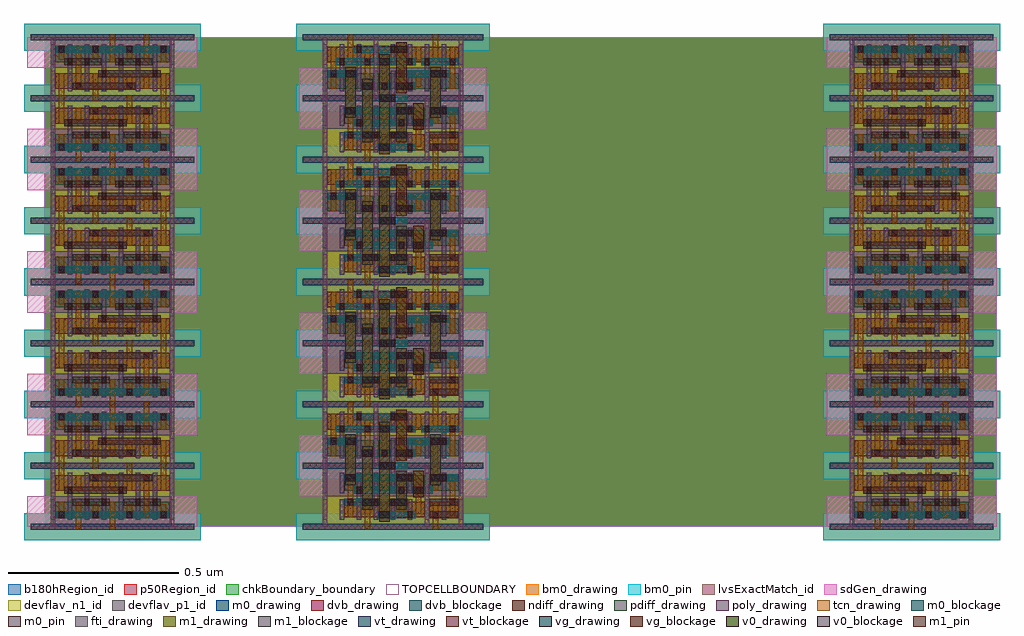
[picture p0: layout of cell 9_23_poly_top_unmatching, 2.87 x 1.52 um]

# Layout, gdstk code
from math import pi, radians
import gdstk
lib = gdstk.Library(unit=1e-6, precision=5e-10)
def R(c, l, rs):  # rectangles x0, y0, x1, y1
    for r in rs: c.add(gdstk.rectangle(r[:2], r[2:], *l))
def A(c, l, x, y, w, h, nx, ny, dx, dy):  # array of equal rectangles
    R(c, l, [(x+i*dx, y+j*dy, x+i*dx+w, y+j*dy+h) for i in range(nx) for j in range(ny)])
ndiff_drawing = (1, 0)
poly_drawing = (2, 0)
m1_drawing = (4, 0)
m1_blockage = (4, 1)
m1_pin = (4, 2)
tcn_drawing = (5, 0)
pdiff_drawing = (8, 0)
sdGen_drawing = (11, 0)
vt_drawing = (31, 0)
vt_blockage = (31, 1)
vg_drawing = (32, 0)
vg_blockage = (32, 1)
chkBoundary_boundary = (50, 0)
TOPCELLBOUNDARY = (50, 99)
m0_drawing = (55, 0)
m0_blockage = (55, 1)
m0_pin = (55, 2)
v0_drawing = (56, 0)
v0_blockage = (56, 1)
lvsExactMatch_id = (81, 434)
b180hRegion_id = (82, 137)
p50Region_id = (82, 420)
fti_drawing = (184, 0)
devflav_n1_id = (273, 102)
devflav_p1_id = (273, 103)
bm0_drawing = (366, 0)
bm0_pin = (366, 2)
dvb_drawing = (474, 0)
dvb_blockage = (474, 1)

ibmaoi012ab1n04x5 = lib.new_cell('ibmaoi012ab1n04x5')
R(ibmaoi012ab1n04x5, ndiff_drawing, [(0.007,0.028,0.343,0.074)])
A(ibmaoi012ab1n04x5, poly_drawing, 0.043, 0.021, 0.014, 0.138, 6, 1, 0.05, 0)
R(ibmaoi012ab1n04x5, poly_drawing, [(-0.007,0.021,0.007,0.081), (0.343,0.021,0.357,0.081), (-0.007,0.099,0.007,0.159), (0.343,0.099,0.357,0.159)])
A(ibmaoi012ab1n04x5, tcn_drawing, 0.017, 0.114, 0.016, 0.04, 3, 1, 0.1, 0)
R(ibmaoi012ab1n04x5, tcn_drawing, [(0.017,-0.007,0.033,0.074), (0.117,-0.007,0.133,0.074), (0.317,-0.007,0.333,0.074), (0.067,0.026,0.083,0.152), (0.217,0.026,0.233,0.074), (0.167,0.028,0.183,0.068), (0.267,0.028,0.283,0.068), (0.167,0.106,0.183,0.187), (0.267,0.106,0.283,0.187), (0.317,0.106,0.333,0.154)])
R(ibmaoi012ab1n04x5, pdiff_drawing, [(0.007,0.106,0.343,0.152)])
R(ibmaoi012ab1n04x5, sdGen_drawing, [(-0.075,0.09,0.425,0.18)])
A(ibmaoi012ab1n04x5, vt_drawing, 0.017, 0.134, 0.016, 0.02, 4, 1, 0.1, 0)
R(ibmaoi012ab1n04x5, vt_drawing, [(0.067,0.026,0.083,0.046), (0.217,0.026,0.233,0.046)])
A(ibmaoi012ab1n04x5, vt_blockage, 0.017, 0.134, 0.016, 0.02, 4, 1, 0.1, 0)
R(ibmaoi012ab1n04x5, vt_blockage, [(0.067,0.026,0.083,0.046), (0.217,0.026,0.233,0.046)])
R(ibmaoi012ab1n04x5, vg_drawing, [(0.143,0.062,0.157,0.082), (0.293,0.062,0.307,0.082), (0.043,0.098,0.057,0.118), (0.093,0.098,0.107,0.118), (0.193,0.098,0.207,0.118), (0.243,0.098,0.257,0.118)])
R(ibmaoi012ab1n04x5, vg_blockage, [(0.143,0.062,0.157,0.082), (0.293,0.062,0.307,0.082), (0.043,0.098,0.057,0.118), (0.093,0.098,0.107,0.118), (0.193,0.098,0.207,0.118), (0.243,0.098,0.257,0.118)])
R(ibmaoi012ab1n04x5, chkBoundary_boundary, [(0,0,0.35,0.18)])
R(ibmaoi012ab1n04x5, m0_drawing, [(0.058,0.026,0.242,0.046), (0.133,0.062,0.317,0.082), (0.033,0.098,0.142,0.118), (0.183,0.098,0.292,0.118), (0.008,0.134,0.342,0.154)])
R(ibmaoi012ab1n04x5, m0_blockage, [(0.008,0.134,0.342,0.154)])
R(ibmaoi012ab1n04x5, m0_pin, [(0.058,0.026,0.242,0.046), (0.133,0.062,0.317,0.082), (0.033,0.098,0.142,0.118), (0.183,0.098,0.292,0.118)])
R(ibmaoi012ab1n04x5, lvsExactMatch_id, [(0,0,0.35,0.18)])
R(ibmaoi012ab1n04x5, b180hRegion_id, [(-0.025,0,0.375,0.18)])
R(ibmaoi012ab1n04x5, p50Region_id, [(-0.025,0,0.375,0.18)])
R(ibmaoi012ab1n04x5, fti_drawing, [(-0.007,0,0.007,0.18), (0.343,0,0.357,0.18)])
R(ibmaoi012ab1n04x5, devflav_n1_id, [(0,0,0.35,0.09)])
R(ibmaoi012ab1n04x5, devflav_p1_id, [(0,0.09,0.35,0.18)])
R(ibmaoi012ab1n04x5, bm0_drawing, [(-0.085,-0.04,0.435,0.04), (-0.085,0.14,0.435,0.22)])
R(ibmaoi012ab1n04x5, bm0_pin, [(-0.085,-0.04,0.435,0.04), (-0.085,0.14,0.435,0.22)])
R(ibmaoi012ab1n04x5, dvb_drawing, [(-0.0655,-0.009,0.4155,0.009), (-0.0655,0.171,0.4155,0.189)])
R(ibmaoi012ab1n04x5, dvb_blockage, [(-0.0655,-0.009,0.4155,0.009), (-0.0655,0.171,0.4155,0.189)])
ibmaoi012ab1n04x5.add(gdstk.Label('o1', (0.075,0.089), layer=5, texttype=0))
ibmaoi012ab1n04x5.add(gdstk.Label('o1', (0.225,0.05), layer=5, texttype=0))
ibmaoi012ab1n04x5.add(gdstk.Label('n2a', (0.175,0.048), layer=5, texttype=0))
ibmaoi012ab1n04x5.add(gdstk.Label('n1', (0.125,0.134), layer=5, texttype=0))
ibmaoi012ab1n04x5.add(gdstk.Label('n1', (0.225,0.134), layer=5, texttype=0))
ibmaoi012ab1n04x5.add(gdstk.Label('vssx', (0.025,0.0335), layer=5, texttype=0))
ibmaoi012ab1n04x5.add(gdstk.Label('n1', (0.025,0.134), layer=5, texttype=0))
ibmaoi012ab1n04x5.add(gdstk.Label('n1', (0.325,0.13), layer=5, texttype=0))
ibmaoi012ab1n04x5.add(gdstk.Label('vssx', (0.325,0.0335), layer=5, texttype=0))
ibmaoi012ab1n04x5.add(gdstk.Label('vcc', (0.275,0.1465), layer=5, texttype=0))
ibmaoi012ab1n04x5.add(gdstk.Label('n2b', (0.275,0.048), layer=5, texttype=0))
ibmaoi012ab1n04x5.add(gdstk.Label('vcc', (0.175,0.1465), layer=5, texttype=0))
ibmaoi012ab1n04x5.add(gdstk.Label('vssx', (0.125,0.0335), layer=5, texttype=0))
ibmaoi012ab1n04x5.add(gdstk.Label('a', (0.1,0.09), layer=2, texttype=0))
ibmaoi012ab1n04x5.add(gdstk.Label('c', (0.15,0.09), layer=2, texttype=0))
ibmaoi012ab1n04x5.add(gdstk.Label('b', (0.2,0.09), layer=2, texttype=0))
ibmaoi012ab1n04x5.add(gdstk.Label('b', (0.25,0.09), layer=2, texttype=0))
ibmaoi012ab1n04x5.add(gdstk.Label('c', (0.3,0.09), layer=2, texttype=0))
ibmaoi012ab1n04x5.add(gdstk.Label('a', (0.05,0.09), layer=2, texttype=0))
ibmaoi012ab1n04x5.add(gdstk.Label('o1', (0.15,0.036), layer=55, texttype=0))
ibmaoi012ab1n04x5.add(gdstk.Label('c', (0.225,0.072), layer=55, texttype=0))
ibmaoi012ab1n04x5.add(gdstk.Label('a', (0.0875,0.108), layer=55, texttype=0))
ibmaoi012ab1n04x5.add(gdstk.Label('b', (0.2375,0.108), layer=55, texttype=0))
ibmaoi012ab1n04x5.add(gdstk.Label('o1', (0.15,0.036), layer=55, texttype=0))
ibmaoi012ab1n04x5.add(gdstk.Label('a', (0.0875,0.108), layer=55, texttype=0))
ibmaoi012ab1n04x5.add(gdstk.Label('c', (0.225,0.072), layer=55, texttype=0))
ibmaoi012ab1n04x5.add(gdstk.Label('b', (0.2375,0.108), layer=55, texttype=0))
ibmaoi012ab1n04x5.add(gdstk.Label('n1', (0.175,0.144), layer=55, texttype=0))
ibmaoi012ab1n04x5.add(gdstk.Label('o1', (0.15,0.036), layer=55, texttype=2))
ibmaoi012ab1n04x5.add(gdstk.Label('c', (0.225,0.072), layer=55, texttype=2))
ibmaoi012ab1n04x5.add(gdstk.Label('a', (0.0875,0.108), layer=55, texttype=2))
ibmaoi012ab1n04x5.add(gdstk.Label('b', (0.2375,0.108), layer=55, texttype=2))
ibmaoi012ab1n04x5.add(gdstk.Label('vssx', (0.175,0), layer=366, texttype=0))
ibmaoi012ab1n04x5.add(gdstk.Label('vcc', (0.175,0.18), layer=366, texttype=0))
ibmaoi012ab1n04x5.add(gdstk.Label('vcc', (0.175,0.18), layer=366, texttype=0))
ibmaoi012ab1n04x5.add(gdstk.Label('vssx', (0.175,0), layer=366, texttype=0))
ibmaoi012ab1n04x5.add(gdstk.Label('vssx', (0.175,0), layer=366, texttype=2))
ibmaoi012ab1n04x5.add(gdstk.Label('vcc', (0.175,0.18), layer=366, texttype=2))

ibmfsn000ab1d02x5 = lib.new_cell('ibmfsn000ab1d02x5')
R(ibmfsn000ab1d02x5, ndiff_drawing, [(0.057,0.028,0.293,0.074), (0.307,0.028,0.393,0.074), (0.007,0.286,0.143,0.332), (0.157,0.286,0.393,0.332)])
A(ibmfsn000ab1d02x5, poly_drawing, 0.193, 0.021, 0.014, 0.06, 3, 1, 0.05, 0)
A(ibmfsn000ab1d02x5, poly_drawing, 0.143, 0.279, 0.014, 0.06, 3, 1, 0.05, 0)
R(ibmfsn000ab1d02x5, poly_drawing, [(-0.007,0.021,0.007,0.081), (0.043,0.021,0.057,0.081), (0.093,0.021,0.107,0.159), (0.143,0.021,0.157,0.159), (0.343,0.021,0.357,0.159), (0.393,0.021,0.407,0.081), (-0.007,0.099,0.007,0.159), (0.043,0.099,0.057,0.159), (0.193,0.099,0.207,0.261), (0.243,0.099,0.257,0.159), (0.293,0.099,0.307,0.159), (0.393,0.099,0.407,0.159), (-0.007,0.201,0.007,0.261), (0.043,0.201,0.057,0.339), (0.093,0.201,0.107,0.339), (0.143,0.201,0.157,0.261), (0.243,0.201,0.257,0.261), (0.293,0.201,0.307,0.339), (0.343,0.201,0.357,0.339), (0.393,0.201,0.407,0.261), (-0.007,0.279,0.007,0.339), (0.393,0.279,0.407,0.339)])
R(ibmfsn000ab1d02x5, m1_drawing, [(0.16,0.015,0.19,0.309), (0.11,0.051,0.14,0.237), (0.21,0.051,0.24,0.165), (0.26,0.087,0.29,0.165), (0.06,0.123,0.09,0.273), (0.31,0.123,0.34,0.273), (0.21,0.195,0.24,0.345)])
R(ibmfsn000ab1d02x5, m1_blockage, [(0.16,0.015,0.19,0.309), (0.11,0.051,0.14,0.237), (0.21,0.051,0.24,0.165), (0.06,0.123,0.09,0.273), (0.31,0.123,0.34,0.273)])
R(ibmfsn000ab1d02x5, m1_pin, [(0.26,0.087,0.29,0.165), (0.21,0.195,0.24,0.345)])
R(ibmfsn000ab1d02x5, tcn_drawing, [(0.117,-0.007,0.133,0.074), (0.317,-0.007,0.333,0.074), (0.067,0.028,0.083,0.152), (0.167,0.028,0.183,0.068), (0.367,0.028,0.383,0.142), (0.217,0.038,0.233,0.152), (0.267,0.038,0.283,0.142), (0.117,0.106,0.133,0.187), (0.317,0.106,0.333,0.254), (0.167,0.11,0.183,0.15), (0.067,0.173,0.083,0.254), (0.167,0.206,0.183,0.322), (0.017,0.208,0.033,0.332), (0.117,0.208,0.133,0.322), (0.217,0.208,0.233,0.322), (0.367,0.208,0.383,0.332), (0.267,0.214,0.283,0.254), (0.067,0.286,0.083,0.367), (0.317,0.286,0.333,0.367), (0.267,0.292,0.283,0.332)])
R(ibmfsn000ab1d02x5, pdiff_drawing, [(0.057,0.106,0.293,0.152), (0.307,0.106,0.393,0.152), (0.007,0.208,0.143,0.254), (0.157,0.208,0.393,0.254)])
R(ibmfsn000ab1d02x5, sdGen_drawing, [(-0.075,0.09,0.475,0.27)])
R(ibmfsn000ab1d02x5, vt_drawing, [(0.317,0.026,0.333,0.046), (0.067,0.062,0.083,0.082), (0.367,0.062,0.383,0.082), (0.217,0.098,0.233,0.118), (0.267,0.098,0.283,0.118), (0.167,0.206,0.183,0.226), (0.017,0.242,0.033,0.262), (0.217,0.242,0.233,0.262), (0.117,0.278,0.133,0.298), (0.367,0.278,0.383,0.298)])
R(ibmfsn000ab1d02x5, vt_blockage, [(0.317,0.026,0.333,0.046), (0.067,0.062,0.083,0.082), (0.367,0.062,0.383,0.082), (0.217,0.098,0.233,0.118), (0.267,0.098,0.283,0.118), (0.167,0.206,0.183,0.226), (0.017,0.242,0.033,0.262), (0.217,0.242,0.233,0.262), (0.117,0.278,0.133,0.298), (0.367,0.278,0.383,0.298)])
A(ibmfsn000ab1d02x5, vg_drawing, 0.243, 0.134, 0.014, 0.02, 1, 3, 0, 0.072)
R(ibmfsn000ab1d02x5, vg_drawing, [(0.243,0.026,0.257,0.046), (0.143,0.062,0.157,0.082), (0.193,0.062,0.207,0.082), (0.093,0.098,0.107,0.118), (0.343,0.134,0.357,0.154), (0.193,0.17,0.207,0.19), (0.343,0.242,0.357,0.262), (0.043,0.278,0.057,0.298), (0.293,0.278,0.307,0.298), (0.093,0.314,0.107,0.334), (0.193,0.314,0.207,0.334)])
A(ibmfsn000ab1d02x5, vg_blockage, 0.243, 0.134, 0.014, 0.02, 1, 3, 0, 0.072)
R(ibmfsn000ab1d02x5, vg_blockage, [(0.243,0.026,0.257,0.046), (0.143,0.062,0.157,0.082), (0.193,0.062,0.207,0.082), (0.093,0.098,0.107,0.118), (0.343,0.134,0.357,0.154), (0.193,0.17,0.207,0.19), (0.343,0.242,0.357,0.262), (0.043,0.278,0.057,0.298), (0.293,0.278,0.307,0.298), (0.093,0.314,0.107,0.334), (0.193,0.314,0.207,0.334)])
R(ibmfsn000ab1d02x5, chkBoundary_boundary, [(0,0,0.4,0.36)])
R(ibmfsn000ab1d02x5, m0_drawing, [(0.158,0.026,0.267,0.046), (0.308,0.026,0.392,0.046), (0.058,0.062,0.167,0.082), (0.183,0.062,0.242,0.082), (0.308,0.062,0.392,0.082), (0.083,0.098,0.242,0.118), (0.258,0.098,0.317,0.118), (0.058,0.134,0.267,0.154), (0.308,0.134,0.392,0.154), (0.158,0.17,0.242,0.19), (0.108,0.206,0.192,0.226), (0.208,0.206,0.267,0.226), (0.008,0.242,0.092,0.262), (0.208,0.242,0.367,0.262), (0.033,0.278,0.267,0.298), (0.283,0.278,0.392,0.298), (0.083,0.314,0.242,0.334)])
R(ibmfsn000ab1d02x5, m0_blockage, [(0.158,0.026,0.267,0.046), (0.058,0.062,0.167,0.082), (0.183,0.062,0.242,0.082), (0.083,0.098,0.242,0.118), (0.258,0.098,0.317,0.118), (0.058,0.134,0.267,0.154), (0.308,0.134,0.392,0.154), (0.158,0.17,0.242,0.19), (0.108,0.206,0.192,0.226), (0.208,0.206,0.267,0.226), (0.008,0.242,0.092,0.262), (0.208,0.242,0.367,0.262), (0.033,0.278,0.267,0.298), (0.283,0.278,0.392,0.298), (0.083,0.314,0.242,0.334)])
R(ibmfsn000ab1d02x5, m0_pin, [(0.308,0.026,0.392,0.046), (0.308,0.062,0.392,0.082)])
A(ibmfsn000ab1d02x5, v0_drawing, 0.21, 0.062, 0.03, 0.02, 1, 3, 0, 0.072)
R(ibmfsn000ab1d02x5, v0_drawing, [(0.16,0.026,0.19,0.046), (0.11,0.062,0.14,0.082), (0.26,0.098,0.29,0.118), (0.06,0.134,0.09,0.154), (0.31,0.134,0.34,0.154), (0.16,0.17,0.19,0.19), (0.11,0.206,0.14,0.226), (0.06,0.242,0.09,0.262), (0.31,0.242,0.34,0.262), (0.16,0.278,0.19,0.298), (0.21,0.314,0.24,0.334)])
A(ibmfsn000ab1d02x5, v0_blockage, 0.21, 0.062, 0.03, 0.02, 1, 3, 0, 0.072)
R(ibmfsn000ab1d02x5, v0_blockage, [(0.16,0.026,0.19,0.046), (0.11,0.062,0.14,0.082), (0.26,0.098,0.29,0.118), (0.06,0.134,0.09,0.154), (0.31,0.134,0.34,0.154), (0.16,0.17,0.19,0.19), (0.11,0.206,0.14,0.226), (0.06,0.242,0.09,0.262), (0.31,0.242,0.34,0.262), (0.16,0.278,0.19,0.298), (0.21,0.314,0.24,0.334)])
R(ibmfsn000ab1d02x5, lvsExactMatch_id, [(0,0,0.4,0.36)])
R(ibmfsn000ab1d02x5, b180hRegion_id, [(-0.025,0,0.425,0.36)])
R(ibmfsn000ab1d02x5, p50Region_id, [(-0.025,0,0.425,0.36)])
R(ibmfsn000ab1d02x5, fti_drawing, [(-0.007,0,0.007,0.36), (0.293,0,0.307,0.18), (0.393,0,0.407,0.36), (0.143,0.18,0.157,0.36)])
R(ibmfsn000ab1d02x5, devflav_n1_id, [(0,0,0.4,0.09), (0,0.27,0.4,0.36)])
R(ibmfsn000ab1d02x5, devflav_p1_id, [(0,0.09,0.4,0.27)])
A(ibmfsn000ab1d02x5, bm0_drawing, -0.085, -0.04, 0.57, 0.08, 1, 3, 0, 0.18)
A(ibmfsn000ab1d02x5, bm0_pin, -0.085, -0.04, 0.57, 0.08, 1, 3, 0, 0.18)
R(ibmfsn000ab1d02x5, dvb_drawing, [(-0.0655,-0.009,0.4655,0.009), (-0.0655,0.171,0.1655,0.189), (0.2345,0.171,0.4655,0.189), (-0.0655,0.351,0.4655,0.369)])
R(ibmfsn000ab1d02x5, dvb_blockage, [(-0.0655,-0.009,0.4655,0.009), (-0.0655,0.171,0.1655,0.189), (0.2345,0.171,0.4655,0.189), (-0.0655,0.351,0.4655,0.369)])
ibmfsn000ab1d02x5.add(gdstk.Label('clk', (0.225,0.27), layer=4, texttype=0))
ibmfsn000ab1d02x5.add(gdstk.Label('d', (0.275,0.126), layer=4, texttype=0))
ibmfsn000ab1d02x5.add(gdstk.Label('nc1', (0.175,0.162), layer=4, texttype=0))
ibmfsn000ab1d02x5.add(gdstk.Label('nc8', (0.225,0.108), layer=4, texttype=0))
ibmfsn000ab1d02x5.add(gdstk.Label('clk', (0.225,0.27), layer=4, texttype=0))
ibmfsn000ab1d02x5.add(gdstk.Label('nc8', (0.075,0.198), layer=4, texttype=0))
ibmfsn000ab1d02x5.add(gdstk.Label('d', (0.275,0.126), layer=4, texttype=0))
ibmfsn000ab1d02x5.add(gdstk.Label('nk5', (0.325,0.198), layer=4, texttype=0))
ibmfsn000ab1d02x5.add(gdstk.Label('nk4', (0.125,0.144), layer=4, texttype=0))
ibmfsn000ab1d02x5.add(gdstk.Label('nc1', (0.05,0.27), layer=2, texttype=0))
ibmfsn000ab1d02x5.add(gdstk.Label('clk', (0.1,0.27), layer=2, texttype=0))
ibmfsn000ab1d02x5.add(gdstk.Label('nk3', (0.1,0.09), layer=2, texttype=0))
ibmfsn000ab1d02x5.add(gdstk.Label('nk4', (0.15,0.09), layer=2, texttype=0))
ibmfsn000ab1d02x5.add(gdstk.Label('nc1', (0.2,0.18), layer=2, texttype=0))
ibmfsn000ab1d02x5.add(gdstk.Label('nc8', (0.25,0.129), layer=2, texttype=0))
ibmfsn000ab1d02x5.add(gdstk.Label('nk5', (0.35,0.09), layer=2, texttype=0))
ibmfsn000ab1d02x5.add(gdstk.Label('nk5', (0.35,0.27), layer=2, texttype=0))
ibmfsn000ab1d02x5.add(gdstk.Label('clk', (0.25,0.231), layer=2, texttype=0))
ibmfsn000ab1d02x5.add(gdstk.Label('nk6', (0.3,0.27), layer=2, texttype=0))
ibmfsn000ab1d02x5.add(gdstk.Label('nc8', (0.2,0.051), layer=2, texttype=0))
ibmfsn000ab1d02x5.add(gdstk.Label('nc1', (0.25,0.051), layer=2, texttype=0))
ibmfsn000ab1d02x5.add(gdstk.Label('clk', (0.2,0.309), layer=2, texttype=0))
ibmfsn000ab1d02x5.add(gdstk.Label('nc1', (0.25,0.309), layer=2, texttype=0))
ibmfsn000ab1d02x5.add(gdstk.Label('clk', (0.225,0.27), layer=4, texttype=2))
ibmfsn000ab1d02x5.add(gdstk.Label('d', (0.275,0.126), layer=4, texttype=2))
ibmfsn000ab1d02x5.add(gdstk.Label('nc8', (0.025,0.27), layer=5, texttype=0))
ibmfsn000ab1d02x5.add(gdstk.Label('nc1', (0.125,0.265), layer=5, texttype=0))
ibmfsn000ab1d02x5.add(gdstk.Label('nk4', (0.075,0.09), layer=5, texttype=0))
ibmfsn000ab1d02x5.add(gdstk.Label('nk3', (0.225,0.095), layer=5, texttype=0))
ibmfsn000ab1d02x5.add(gdstk.Label('o', (0.375,0.085), layer=5, texttype=0))
ibmfsn000ab1d02x5.add(gdstk.Label('nk5', (0.225,0.265), layer=5, texttype=0))
ibmfsn000ab1d02x5.add(gdstk.Label('nk4', (0.175,0.264), layer=5, texttype=0))
ibmfsn000ab1d02x5.add(gdstk.Label('vcc', (0.325,0.18), layer=5, texttype=0))
ibmfsn000ab1d02x5.add(gdstk.Label('gd1|n2', (0.175,0.048), layer=5, texttype=0))
ibmfsn000ab1d02x5.add(gdstk.Label('d', (0.275,0.09), layer=5, texttype=0))
ibmfsn000ab1d02x5.add(gdstk.Label('vssx', (0.325,0.0335), layer=5, texttype=0))
ibmfsn000ab1d02x5.add(gdstk.Label('nk6', (0.375,0.27), layer=5, texttype=0))
ibmfsn000ab1d02x5.add(gdstk.Label('vssx', (0.325,0.3265), layer=5, texttype=0))
ibmfsn000ab1d02x5.add(gdstk.Label('gd2|n2', (0.275,0.312), layer=5, texttype=0))
ibmfsn000ab1d02x5.add(gdstk.Label('gd2|n1', (0.275,0.234), layer=5, texttype=0))
ibmfsn000ab1d02x5.add(gdstk.Label('gd1|n1', (0.175,0.13), layer=5, texttype=0))
ibmfsn000ab1d02x5.add(gdstk.Label('vcc', (0.125,0.1465), layer=5, texttype=0))
ibmfsn000ab1d02x5.add(gdstk.Label('vssx', (0.075,0.3265), layer=5, texttype=0))
ibmfsn000ab1d02x5.add(gdstk.Label('vcc', (0.075,0.2135), layer=5, texttype=0))
ibmfsn000ab1d02x5.add(gdstk.Label('vssx', (0.125,0.0335), layer=5, texttype=0))
ibmfsn000ab1d02x5.add(gdstk.Label('vssx', (0.35,0.036), layer=55, texttype=0))
ibmfsn000ab1d02x5.add(gdstk.Label('o', (0.35,0.072), layer=55, texttype=0))
ibmfsn000ab1d02x5.add(gdstk.Label('nc1', (0.2125,0.036), layer=55, texttype=0))
ibmfsn000ab1d02x5.add(gdstk.Label('nc8', (0.2125,0.072), layer=55, texttype=0))
ibmfsn000ab1d02x5.add(gdstk.Label('clk', (0.1625,0.324), layer=55, texttype=0))
ibmfsn000ab1d02x5.add(gdstk.Label('nk5', (0.35,0.144), layer=55, texttype=0))
ibmfsn000ab1d02x5.add(gdstk.Label('nk5', (0.2875,0.252), layer=55, texttype=0))
ibmfsn000ab1d02x5.add(gdstk.Label('nc1', (0.15,0.288), layer=55, texttype=0))
ibmfsn000ab1d02x5.add(gdstk.Label('nk4', (0.15,0.216), layer=55, texttype=0))
ibmfsn000ab1d02x5.add(gdstk.Label('d', (0.2875,0.108), layer=55, texttype=0))
ibmfsn000ab1d02x5.add(gdstk.Label('vssx', (0.35,0.036), layer=55, texttype=0))
ibmfsn000ab1d02x5.add(gdstk.Label('o', (0.35,0.072), layer=55, texttype=0))
ibmfsn000ab1d02x5.add(gdstk.Label('nk6', (0.3375,0.288), layer=55, texttype=0))
ibmfsn000ab1d02x5.add(gdstk.Label('nk3', (0.1625,0.108), layer=55, texttype=0))
ibmfsn000ab1d02x5.add(gdstk.Label('nk4', (0.1125,0.072), layer=55, texttype=0))
ibmfsn000ab1d02x5.add(gdstk.Label('nc1', (0.2,0.18), layer=55, texttype=0))
ibmfsn000ab1d02x5.add(gdstk.Label('clk', (0.2375,0.216), layer=55, texttype=0))
ibmfsn000ab1d02x5.add(gdstk.Label('nc8', (0.05,0.252), layer=55, texttype=0))
ibmfsn000ab1d02x5.add(gdstk.Label('nc8', (0.1625,0.144), layer=55, texttype=0))
ibmfsn000ab1d02x5.add(gdstk.Label('vssx', (0.35,0.036), layer=55, texttype=2))
ibmfsn000ab1d02x5.add(gdstk.Label('o', (0.35,0.072), layer=55, texttype=2))
ibmfsn000ab1d02x5.add(gdstk.Label('vssx', (0.2,0.36), layer=366, texttype=0))
ibmfsn000ab1d02x5.add(gdstk.Label('vssx', (0.2,0), layer=366, texttype=0))
ibmfsn000ab1d02x5.add(gdstk.Label('vcc', (0.2,0.18), layer=366, texttype=0))
ibmfsn000ab1d02x5.add(gdstk.Label('vssx', (0.2,0.36), layer=366, texttype=0))
ibmfsn000ab1d02x5.add(gdstk.Label('vcc', (0.2,0.18), layer=366, texttype=0))
ibmfsn000ab1d02x5.add(gdstk.Label('vssx', (0.2,0), layer=366, texttype=0))
ibmfsn000ab1d02x5.add(gdstk.Label('vssx', (0.2,0.36), layer=366, texttype=2))
ibmfsn000ab1d02x5.add(gdstk.Label('vssx', (0.2,0), layer=366, texttype=2))
ibmfsn000ab1d02x5.add(gdstk.Label('vcc', (0.2,0.18), layer=366, texttype=2))

c_9_23_poly_top_unmatching = lib.new_cell('9_23_poly_top_unmatching')
R(c_9_23_poly_top_unmatching, chkBoundary_boundary, [(0,0,2.8,1.44)])
R(c_9_23_poly_top_unmatching, TOPCELLBOUNDARY, [(0,0,2.8,1.44)])
R(c_9_23_poly_top_unmatching, b180hRegion_id, [(0,0,2.8,1.44)])
R(c_9_23_poly_top_unmatching, p50Region_id, [(0.0005,0,2.8,1.44)])
c_9_23_poly_top_unmatching.add(gdstk.Reference(ibmaoi012ab1n04x5, (2.375,1.26)))
c_9_23_poly_top_unmatching.add(gdstk.Reference(ibmaoi012ab1n04x5, (2.375,0.54)))
c_9_23_poly_top_unmatching.add(gdstk.Reference(ibmaoi012ab1n04x5, (2.375,0.18)))
c_9_23_poly_top_unmatching.add(gdstk.Reference(ibmaoi012ab1n04x5, (2.725,0.18), rotation=pi))
c_9_23_poly_top_unmatching.add(gdstk.Reference(ibmaoi012ab1n04x5, (2.725,0.54), rotation=pi))
c_9_23_poly_top_unmatching.add(gdstk.Reference(ibmaoi012ab1n04x5, (2.375,0.9)))
c_9_23_poly_top_unmatching.add(gdstk.Reference(ibmaoi012ab1n04x5, (2.725,0.9), rotation=pi))
c_9_23_poly_top_unmatching.add(gdstk.Reference(ibmaoi012ab1n04x5, (2.725,1.26), rotation=pi))
c_9_23_poly_top_unmatching.add(gdstk.Reference(ibmaoi012ab1n04x5, (0.025,0.54)))
c_9_23_poly_top_unmatching.add(gdstk.Reference(ibmaoi012ab1n04x5, (0.025,0.18)))
c_9_23_poly_top_unmatching.add(gdstk.Reference(ibmaoi012ab1n04x5, (0.375,0.18), rotation=pi))
c_9_23_poly_top_unmatching.add(gdstk.Reference(ibmaoi012ab1n04x5, (0.375,0.54), rotation=pi))
c_9_23_poly_top_unmatching.add(gdstk.Reference(ibmaoi012ab1n04x5, (0.025,0.9)))
c_9_23_poly_top_unmatching.add(gdstk.Reference(ibmaoi012ab1n04x5, (0.375,0.9), rotation=pi))
c_9_23_poly_top_unmatching.add(gdstk.Reference(ibmaoi012ab1n04x5, (0.375,1.26), rotation=pi))
c_9_23_poly_top_unmatching.add(gdstk.Reference(ibmaoi012ab1n04x5, (0.025,1.26)))
c_9_23_poly_top_unmatching.add(gdstk.Reference(ibmfsn000ab1d02x5, (0.825,0)))
c_9_23_poly_top_unmatching.add(gdstk.Reference(ibmfsn000ab1d02x5, (0.825,0.36)))
c_9_23_poly_top_unmatching.add(gdstk.Reference(ibmfsn000ab1d02x5, (0.825,0.72)))
c_9_23_poly_top_unmatching.add(gdstk.Reference(ibmfsn000ab1d02x5, (0.825,1.08)))

lib.write_gds('9_23_poly_top_unmatching.gds')
